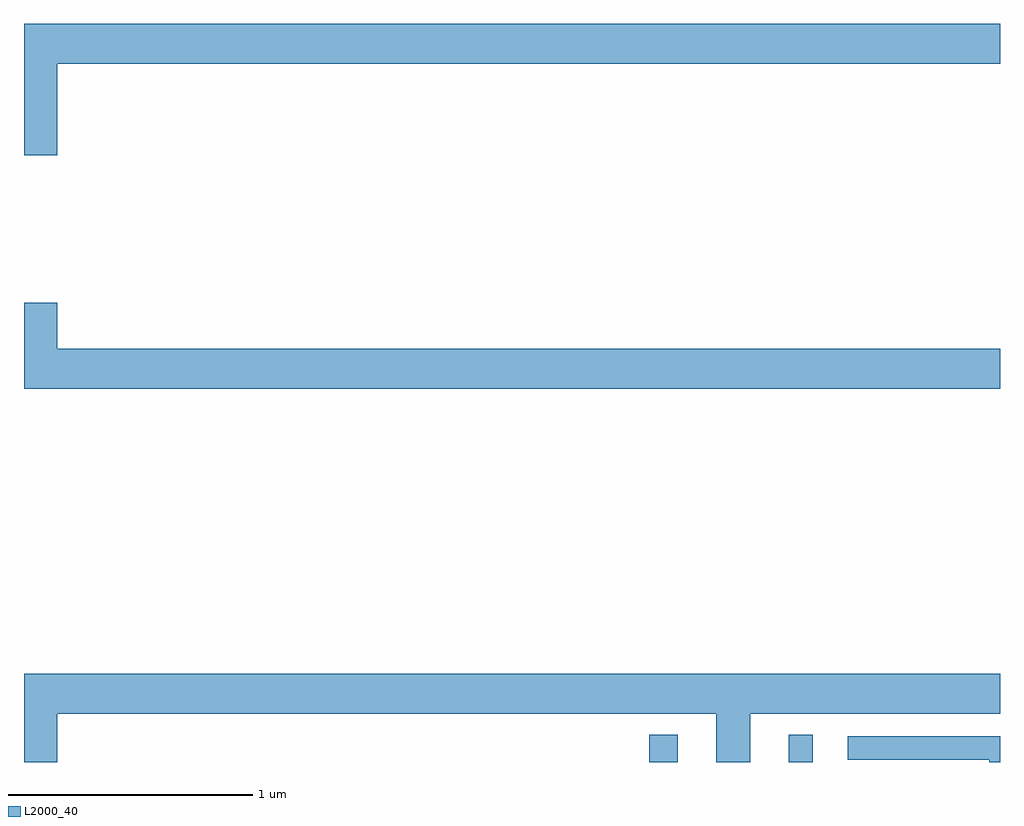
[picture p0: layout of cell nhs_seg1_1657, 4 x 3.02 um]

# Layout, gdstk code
import gdstk
lib = gdstk.Library(unit=1e-6, precision=1e-09)
def R(c, l, rs):  # rectangles x0, y0, x1, y1
    for r in rs: c.add(gdstk.rectangle(r[:2], r[2:], *l))
def P(c, l, *ps):  # polygons
    for p in ps: c.add(gdstk.Polygon(p, *l))
L2000_40 = (2000, 40)

nhs_seg1_1657 = lib.new_cell('nhs_seg1_1657')
R(nhs_seg1_1657, L2000_40, [(203.563,554.199,203.68,554.311), (204.134,554.199,204.232,554.311)])
P(nhs_seg1_1657, L2000_40, [(201.136,557.06),(205,557.06),(205,557.224),(201,557.224),(201,556.686),(201.136,556.686)],
  [(205,555.892),(201.136,555.892),(201.136,556.081),(201,556.081),(201,555.728),(205,555.728)],
  [(201.136,554.396),(203.837,554.396),(203.837,554.199),(203.977,554.199),(203.977,554.396),(205,554.396),(205,554.56),(201,554.56),(201,554.199),(201.136,554.199)],
  [(205,554.304),(204.375,554.304),(204.375,554.208),(204.956,554.208),(204.956,554.199),(205,554.199)])

lib.write_gds('nhs_seg1_1657.gds')
